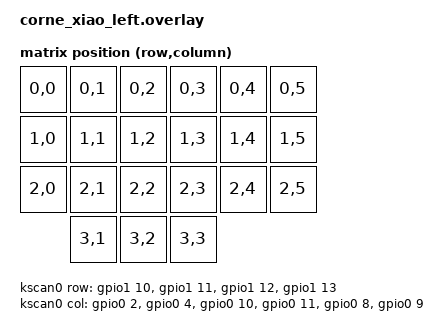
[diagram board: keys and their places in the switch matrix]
#include <dt-bindings/zmk/matrix_transform.h>

/ {
    chosen {
        zmk,kscan = &kscan0;
        zmk,matrix_transform = &default_transform;
    };

    default_transform: keymap_transform_0 {
        compatible = "zmk,matrix-transform";
        columns = <6>;
        rows = <4>;
        map = <
            RC(0,0) RC(0,1) RC(0,2) RC(0,3) RC(0,4) RC(0,5)
            RC(1,0) RC(1,1) RC(1,2) RC(1,3) RC(1,4) RC(1,5)
            RC(2,0) RC(2,1) RC(2,2) RC(2,3) RC(2,4) RC(2,5)
                    RC(3,1) RC(3,2) RC(3,3)
        >;
    };

    kscan0: kscan {
        compatible = "zmk,kscan-gpio-matrix";
        label = "KSCAN";
        diode-direction = "row2col";

        row-gpios
            = <&gpio1 10 GPIO_ACTIVE_HIGH>    // MOSI
            , <&gpio1 11 GPIO_ACTIVE_HIGH>    // MISO
            , <&gpio1 12 GPIO_ACTIVE_HIGH>    // SCK
            , <&gpio1 13 GPIO_ACTIVE_HIGH>    // RX
            ;

        col-gpios
            = <&gpio0 2 (GPIO_ACTIVE_HIGH | GPIO_PULL_DOWN)>   // D0
            , <&gpio0 4 (GPIO_ACTIVE_HIGH | GPIO_PULL_DOWN)>   // D1
            , <&gpio0 10 (GPIO_ACTIVE_HIGH | GPIO_PULL_DOWN)>  // D2
            , <&gpio0 11 (GPIO_ACTIVE_HIGH | GPIO_PULL_DOWN)>  // D3
            , <&gpio0 8 (GPIO_ACTIVE_HIGH | GPIO_PULL_DOWN)>   // D4
            , <&gpio0 9 (GPIO_ACTIVE_HIGH | GPIO_PULL_DOWN)>   // D5
            ;
    };
};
